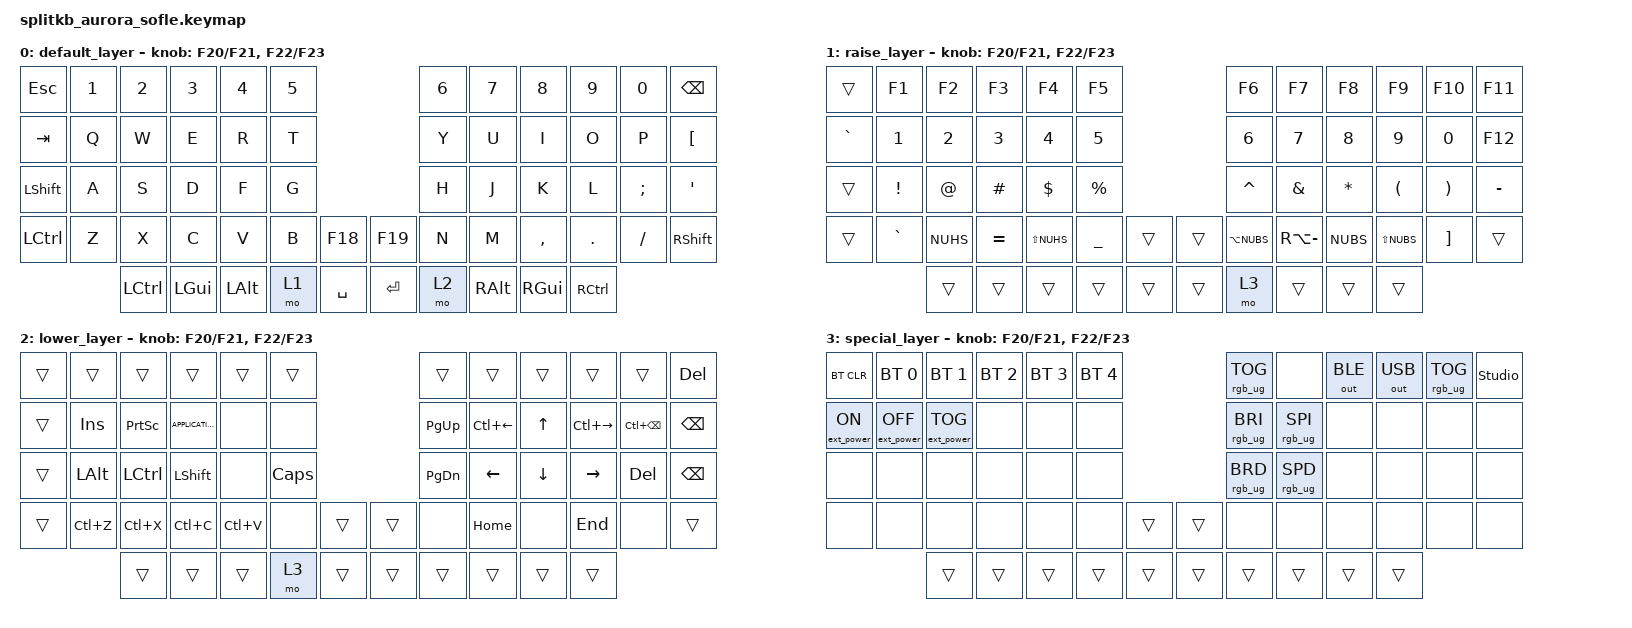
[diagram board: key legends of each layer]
/*
 * Copyright (c) 2023 The ZMK Contributors
 *
 * SPDX-License-Identifier: MIT
 */

#include <behaviors.dtsi>
#include <dt-bindings/zmk/keys.h>
#include <dt-bindings/zmk/bt.h>
#include <dt-bindings/zmk/ext_power.h>
#include <dt-bindings/zmk/outputs.h>
#include <dt-bindings/zmk/rgb.h>

&led_strip {
    //chain-length = <6>;
    chain-length = <35>; // Uncomment if using both per-key and underglow LEDs
    // chain-length = <29>; // Uncomment if using only per-key LEDs.
};

&gpio0 {
    extpwr_pull: extpwr_pull {
        gpio-hog;
        gpios = <15 GPIO_ACTIVE_HIGH>;  // might need to swap this or the next, not sure
        output-low;
        line-name = "Disable ext power pin";
    };
};

/ {
    keymap {
        compatible = "zmk,keymap";

        default_layer {
// ------------------------------------------------------------------------------------------------------------
// |  ESC  |  1  |  2  |  3   |  4   |  5   |                   |  6   |  7    |  8    |  9   |   0  | BSPC  |
// |  TAB  |  Q  |  W  |  E   |  R   |  T   |                   |  Y   |  U    |  I    |  O   |   P  | LBKT  |
// |  SHFT |  A  |  S  |  D   |  F   |  G   |                   |  H   |  J    |  K    |  L   |   ;  |   '   |
// | CTRL  |  Z  |  X  |  C   |  V   |  B   |   F13  |  |  F14  |  N   |  M    |  ,    |  .   | FSLH | SHIFT |
//               |CTRL | GUI  | ALT  | RAISE|  SPACE |  | ENTER | LOWER| BSPC  | GUI   | CTRL |
            bindings = <
&kp ESC   &kp N1 &kp N2    &kp N3   &kp N4   &kp N5                     &kp N6 &kp N7   &kp N8    &kp N9   &kp N0   &kp BSPC
&kp TAB   &kp Q  &kp W     &kp E    &kp R    &kp T                      &kp Y  &kp U    &kp I     &kp O    &kp P    &kp LBKT
&kp LSHFT &kp A  &kp S     &kp D    &kp F    &kp G                      &kp H  &kp J    &kp K     &kp L    &kp SEMI &kp SQT
&kp LCTRL &kp Z  &kp X     &kp C    &kp V    &kp B  &kp F18    &kp F19  &kp N  &kp M    &kp COMMA &kp DOT  &kp FSLH &kp RSHFT
                 &kp LCTRL &kp LGUI &kp LALT &mo 1  &kp SPACE  &kp RET  &mo 2  &kp RALT &kp RGUI  &kp RIGHT_CONTROL
            >;

            sensor-bindings = <&inc_dec_kp F20 F21 &inc_dec_kp F22 F23>;
        };

        raise_layer {
// ------------------------------------------------------------------------------------------------------------
// | BTCLR | BT1 | BT2 |  BT3 |  BT4 |  BT5 |                   |      |       |  OUT_BLE |  OUT_USB  |  RGB_TOG  |  studio unlock  |
// |  F1   |  F2 |  F3 |  F4  |  F5  |  F6  |                   |  F7  |  F8   |  F9      |  F10      |  F11      |  F12            |
// |   `   |  !  |  @  |  #   |  $   |  %   |                   |  ^   |  &    |  *       |  (        |   )       |   ~             |
// |       |     |     |      |      |      |        |  |       |      |  _    |  +       |  {        |   }       |  "|"            |
//               |     |      |      |      |        |  |       |      |       |          |           |
            bindings = <
&trans    &kp F1    &kp F2    &kp F3    &kp F4       &kp F5                     &kp F6       &kp F7        &kp F8   &kp F9       &kp F10  &kp F11
&kp GRAVE &kp N1    &kp N2    &kp N3    &kp N4       &kp N5                     &kp N6       &kp N7        &kp N8   &kp N9       &kp N0   &kp F12
&trans    &kp EXCL  &kp AT    &kp HASH  &kp DLLR     &kp PRCNT                  &kp CARET    &kp AMPS      &kp STAR &kp LPAR     &kp RPAR &kp MINUS
&trans    &kp GRAVE &kp NUHS  &kp EQUAL &kp LS(NUHS) &kp UNDER   &trans &trans  &kp LA(NUBS) &kp RA(MINUS) &kp NUBS &kp LS(NUBS) &kp RBKT &trans
                    &trans    &trans    &trans       &trans      &trans &trans  &mo 3        &trans        &trans   &trans
            >;

            sensor-bindings = <&inc_dec_kp F20 F21 &inc_dec_kp F22 F23>;
        };

        lower_layer {
// ------------------------------------------------------------------------------------------------------------
// |       |     |     |      |      |      |                   |      |       |       |      |       | DEL |
// |   `   |  1  |  2  |  3   |  4   |  5   |                   |  6   |   7   |   8   |  9   |   0   |       |
// |   F1  |  F2 |  F3 |  F4  |  F5  |  F6  |                   |      |   <-  |   v   |  ^   |  ->   |       |
// |   F7  |  F8 |  F9 |  F10 |  F11 |  F12 |        |  |       |  +   |   -   |   =   |  [   |   ]   |   \   |
//               |     |      |      |      |        |  |       |      |       |       |      |
            bindings = <
&trans        &trans       &trans           &trans            &trans    &trans                         &trans        &trans       &trans   &trans        &trans            &kp DEL
&trans        &kp INSERT   &kp PRINTSCREEN  &kp K_APPLICATION &none     &none                          &kp PAGE_UP   &kp LC(LEFT) &kp UP   &kp LC(RIGHT) &kp LC(BACKSPACE) &kp BACKSPACE
&trans        &kp LEFT_ALT &kp LEFT_CONTROL &kp LEFT_SHIFT    &none     &kp CAPSLOCK                   &kp PAGE_DOWN &kp LEFT     &kp DOWN &kp RIGHT     &kp DEL           &kp BACKSPACE
&trans        &kp LC(Z)    &kp LC(X)        &kp LC(C)         &kp LC(V) &none         &trans  &trans   &none         &kp HOME     &none    &kp END       &none             &trans
                           &trans           &trans            &trans    &mo 3         &trans  &trans    &trans        &trans       &trans   &trans
            >;

            sensor-bindings = <&inc_dec_kp F20 F21 &inc_dec_kp F22 F23>;
        };

        special_layer {
// ------------------------------------------------------------------------------------------------------------
// |       |     |     |      |      |      |                   |      |       |       |      |       |       |
// |   `   |  1  |  2  |  3   |  4   |  5   |                   |  6   |   7   |   8   |  9   |   0   |       |
// |   F1  |  F2 |  F3 |  F4  |  F5  |  F6  |                   |      |   <-  |   v   |  ^   |  ->   |       |
// |   F7  |  F8 |  F9 |  F10 |  F11 |  F12 |        |  |       |  +   |   -   |   =   |  [   |   ]   |   \   |
//               |     |      |      |      |        |  |       |      |       |       |      |
            bindings = <
&bt BT_CLR       &bt BT_SEL 0      &bt BT_SEL 1      &bt BT_SEL 2 &bt BT_SEL 3 &bt BT_SEL 4                        &rgb_ug RGB_TOG &none              &out OUT_BLE &out OUT_USB &rgb_ug RGB_TOG &studio_unlock
&ext_power EP_ON &ext_power EP_OFF &ext_power EP_TOG &none        &none        &none                               &rgb_ug RGB_BRI &rgb_ug RGB_SPI    &none        &none        &none           &none
&none            &none             &none             &none        &none        &none                               &rgb_ug RGB_BRD &rgb_ug RGB_SPD    &none        &none        &none           &none
&none            &none             &none             &none        &none        &none            &trans  &trans     &none           &none              &none        &none        &none           &none
                                   &trans            &trans       &trans       &trans           &trans  &trans     &trans          &trans             &trans       &trans
            >;

            sensor-bindings = <&inc_dec_kp F20 F21 &inc_dec_kp F22 F23>;
        };
    };
};
